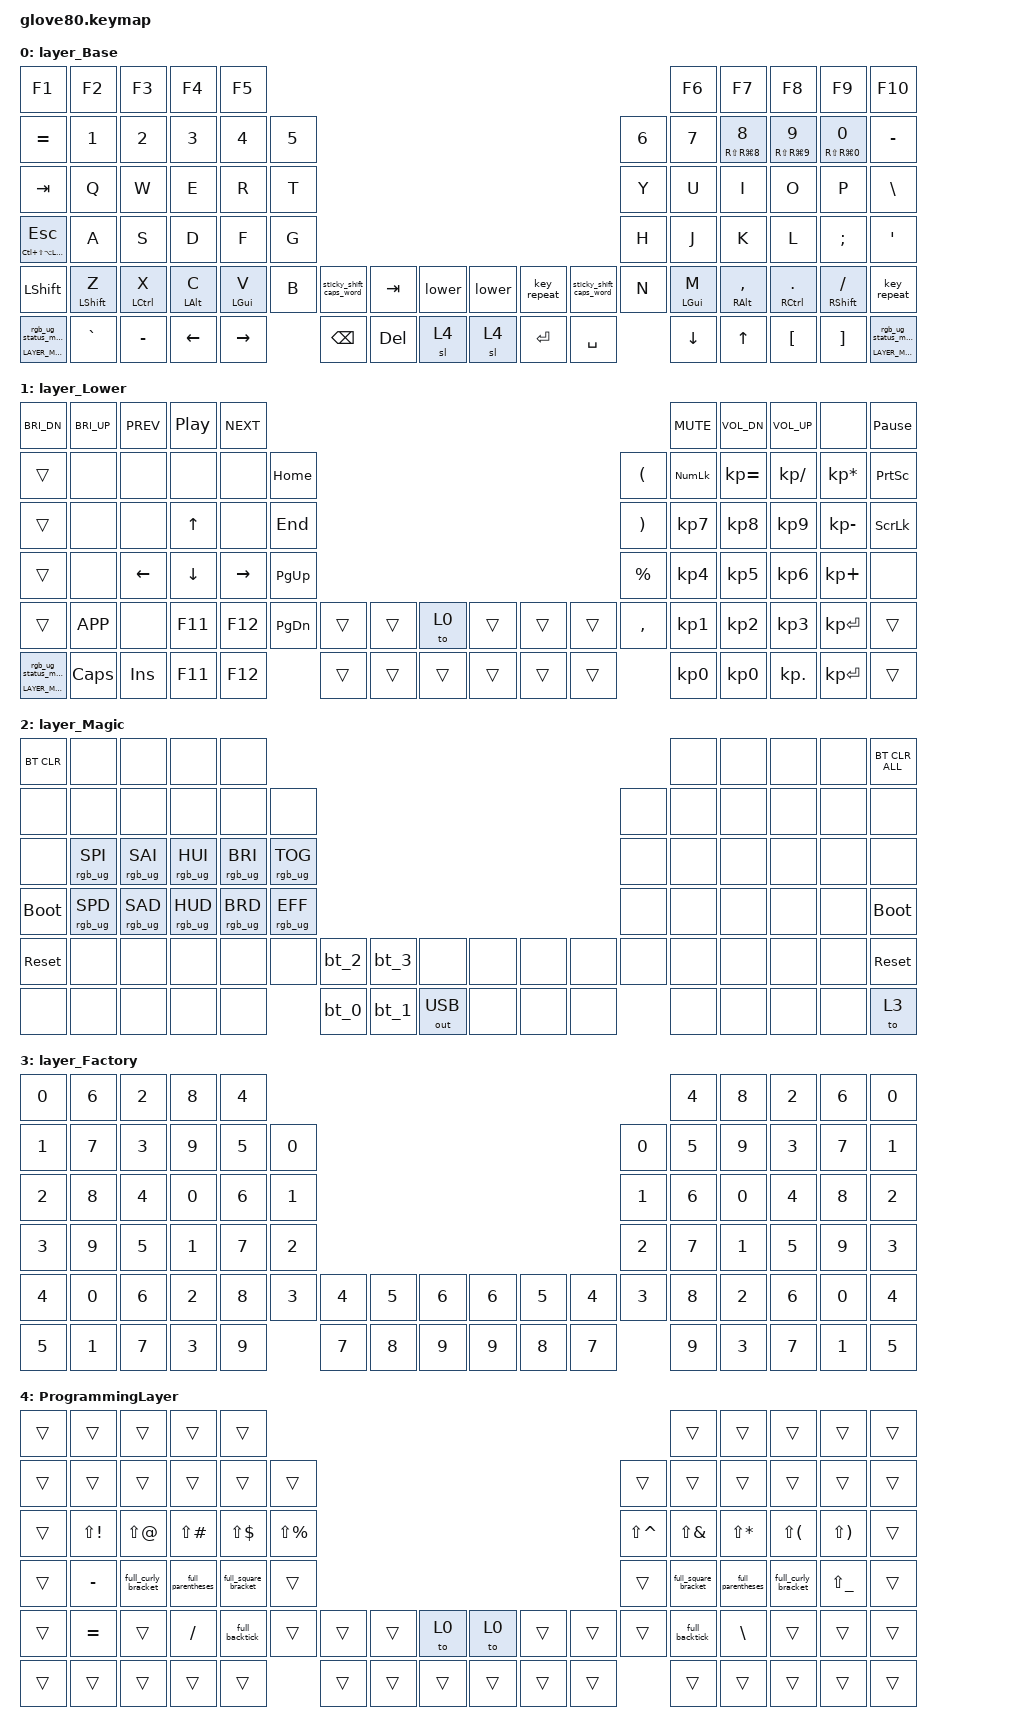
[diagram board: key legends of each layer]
/*
 * Copyright (c) 2020 The ZMK Contributors
 * Copyright (c) 2023 Innaworks Development Limited, trading as MoErgo
 *
 * SPDX-License-Identifier: MIT
 */
/* THIS FILE WAS GENERATED BY GLOVE80 LAYOUT EDITOR
 *
 * This file was generated automatically. You may or may not want to
 * edit it directly.
 */
/* Include all behavior includes needed */

#include <behaviors.dtsi>
#include <dt-bindings/zmk/bt.h>
#include <dt-bindings/zmk/keys.h>
#include <dt-bindings/zmk/outputs.h>
#include <dt-bindings/zmk/rgb.h>

/* On demand includes */
/* Automatically generated layer name #define */

#define LAYER_Base 0
#define LAYER_Lower 1
#define LAYER_Magic 2
#define LAYER_Factory 3

/* To deal with the situation where there is no Lower layer, to keep &lower happy */

#ifndef LAYER_Lower

#define LAYER_Lower 0

#endif

/* Custom Device-tree */

&mt {
    flavor = "balanced";
    tapping-term-ms = <280>;
    quick-tap-ms = <175>;
    require-prior-idle-ms = <150>;
};

&caps_word { continue-list = <UNDERSCORE BACKSPACE DELETE MINUS>; };

/* Glove80 system behavior & macros */

/ {
    behaviors {
        // For the "layer" key, it'd nice to be able to use it as either a shift or a toggle.
        // Configure it as a tap dance, so the first tap (or hold) is a &mo and the second tap is a &to

        lower: lower {
            compatible = "zmk,behavior-tap-dance";
            label = "LAYER_TAP_DANCE";
            #binding-cells = <0>;
            tapping-term-ms = <200>;
            bindings = <&mo LAYER_Lower>, <&to LAYER_Lower>;
        };
    };
};

/ {
    macros {
        rgb_ug_status_macro: rgb_ug_status_macro {
            label = "RGB_UG_STATUS";
            compatible = "zmk,behavior-macro";
            #binding-cells = <0>;
            bindings = <&rgb_ug RGB_STATUS>;
        };
    };
};

/ {
    #ifdef BT_DISC_CMD

    behaviors {
        bt_0: bt_0 {
            compatible = "zmk,behavior-tap-dance";
            label = "BT_0";
            #binding-cells = <0>;
            tapping-term-ms = <200>;
            bindings = <&bt_select_0>, <&bt BT_DISC 0>;
        };

        bt_1: bt_1 {
            compatible = "zmk,behavior-tap-dance";
            label = "BT_1";
            #binding-cells = <0>;
            tapping-term-ms = <200>;
            bindings = <&bt_select_1>, <&bt BT_DISC 1>;
        };

        bt_2: bt_2 {
            compatible = "zmk,behavior-tap-dance";
            label = "BT_2";
            #binding-cells = <0>;
            tapping-term-ms = <200>;
            bindings = <&bt_select_2>, <&bt BT_DISC 2>;
        };

        bt_3: bt_3 {
            compatible = "zmk,behavior-tap-dance";
            label = "BT_3";
            #binding-cells = <0>;
            tapping-term-ms = <200>;
            bindings = <&bt_select_3>, <&bt BT_DISC 3>;
        };
    };

    macros {
        bt_select_0: bt_select_0 {
            label = "BT_SELECT_0";
            compatible = "zmk,behavior-macro";
            #binding-cells = <0>;
            bindings = <&out OUT_BLE &bt BT_SEL 0>;
        };

        bt_select_1: bt_select_1 {
            label = "BT_SELECT_1";
            compatible = "zmk,behavior-macro";
            #binding-cells = <0>;
            bindings = <&out OUT_BLE &bt BT_SEL 1>;
        };

        bt_select_2: bt_select_2 {
            label = "BT_SELECT_2";
            compatible = "zmk,behavior-macro";
            #binding-cells = <0>;
            bindings = <&out OUT_BLE &bt BT_SEL 2>;
        };

        bt_select_3: bt_select_3 {
            label = "BT_SELECT_3";
            compatible = "zmk,behavior-macro";
            #binding-cells = <0>;
            bindings = <&out OUT_BLE &bt BT_SEL 3>;
        };
    };

    #else

    macros {
        bt_0: bt_0 {
            label = "BT_0";
            compatible = "zmk,behavior-macro";
            #binding-cells = <0>;
            bindings = <&out OUT_BLE &bt BT_SEL 0>;
        };

        bt_1: bt_1 {
            label = "BT_1";
            compatible = "zmk,behavior-macro";
            #binding-cells = <0>;
            bindings = <&out OUT_BLE &bt BT_SEL 1>;
        };

        bt_2: bt_2 {
            label = "BT_2";
            compatible = "zmk,behavior-macro";
            #binding-cells = <0>;
            bindings = <&out OUT_BLE &bt BT_SEL 2>;
        };

        bt_3: bt_3 {
            label = "BT_3";
            compatible = "zmk,behavior-macro";
            #binding-cells = <0>;
            bindings = <&out OUT_BLE &bt BT_SEL 3>;
        };
    #endif
    
};

/ { 
    macros {
        full_parentheses: full_parentheses {
             compatible = "zmk,behavior-macro";
             #binding-cells = <0>;
             bindings = <&kp LPAR &kp RPAR &kp LEFT_ARROW>;
             label = "FULL_PARENTHESES";};full_square_bracket: full_square_bracket {
        compatible = "zmk,behavior-macro";
      
         #binding-cells = <0>;
         bindings = <&kp LEFT_BRACKET &kp RIGHT_BRACKET &kp LEFT_ARROW>;
         label = "FULL_SQUARE_BRACKET";};full_curly_bracket: full_curly_bracket {
        compatible = "zmk,behavior-macro";
      
         #binding-cells = <0>;
         bindings = <&kp LEFT_BRACE &kp RIGHT_BRACE &kp LEFT_ARROW>;
         label = "FULL_CURLY_BRACKET";};full_backtick: full_backtick {
        compatible = "zmk,behavior-macro";
      
         #binding-cells = <0>;
         bindings = <&kp GRAVE &kp GRAVE &kp LEFT_ARROW>;
         label = "FULL_BACKTICK";};
        };
  };

/ {
    behaviors {
        magic: magic {
            compatible = "zmk,behavior-hold-tap";
            label = "MAGIC_HOLD_TAP";
            #binding-cells = <2>;
            flavor = "tap-preferred";
            tapping-term-ms = <200>;
            bindings = <&mo>, <&rgb_ug_status_macro>;
        };

        sticky_shift_caps_word: sticky_shift_caps_word {
            compatible = "zmk,behavior-tap-dance";
            label = "STICKY_SHIFT_CAPS_WORD";
            #binding-cells = <0>;
            bindings = <&sk RSHFT>, <&caps_word>;
        };pgdown_layer1: pgdown_layer1 {
      compatible = "zmk,behavior-hold-tap";
    
         label = "PGDOWN_LAYER1";
         bindings = <&to>, <&kp>;
         #binding-cells = <2>;
         tapping-term-ms = <280>;};
    };
};

/* #define for key positions */

#define POS_LH_T1 52
#define POS_LH_T2 53
#define POS_LH_T3 54
#define POS_LH_T4 69
#define POS_LH_T5 70
#define POS_LH_T6 71
#define POS_LH_C1R2 15
#define POS_LH_C1R3 27
#define POS_LH_C1R4 39
#define POS_LH_C1R5 51
#define POS_LH_C2R1 4
#define POS_LH_C2R2 14
#define POS_LH_C2R3 26
#define POS_LH_C2R4 38
#define POS_LH_C2R5 50
#define POS_LH_C2R6 68
#define POS_LH_C3R1 3
#define POS_LH_C3R2 13
#define POS_LH_C3R3 25
#define POS_LH_C3R4 37
#define POS_LH_C3R5 49
#define POS_LH_C3R6 67
#define POS_LH_C4R1 2
#define POS_LH_C4R2 12
#define POS_LH_C4R3 24
#define POS_LH_C4R4 36
#define POS_LH_C4R5 48
#define POS_LH_C4R6 66
#define POS_LH_C5R1 1
#define POS_LH_C5R2 11
#define POS_LH_C5R3 23
#define POS_LH_C5R4 35
#define POS_LH_C5R5 47
#define POS_LH_C5R6 65
#define POS_LH_C6R1 0
#define POS_LH_C6R2 10
#define POS_LH_C6R3 22
#define POS_LH_C6R4 34
#define POS_LH_C6R5 46
#define POS_LH_C6R6 64
#define POS_RH_T1 57
#define POS_RH_T2 56
#define POS_RH_T3 55
#define POS_RH_T4 74
#define POS_RH_T5 73
#define POS_RH_T6 72
#define POS_RH_C1R2 16
#define POS_RH_C1R3 28
#define POS_RH_C1R4 40
#define POS_RH_C1R5 58
#define POS_RH_C2R1 5
#define POS_RH_C2R2 17
#define POS_RH_C2R3 29
#define POS_RH_C2R4 41
#define POS_RH_C2R5 59
#define POS_RH_C2R6 75
#define POS_RH_C3R1 6
#define POS_RH_C3R2 18
#define POS_RH_C3R3 30
#define POS_RH_C3R4 42
#define POS_RH_C3R5 60
#define POS_RH_C3R6 76
#define POS_RH_C4R1 7
#define POS_RH_C4R2 19
#define POS_RH_C4R3 31
#define POS_RH_C4R4 43
#define POS_RH_C4R5 61
#define POS_RH_C4R6 77
#define POS_RH_C5R1 8
#define POS_RH_C5R2 20
#define POS_RH_C5R3 32
#define POS_RH_C5R4 44
#define POS_RH_C5R5 62
#define POS_RH_C5R6 78
#define POS_RH_C6R1 9
#define POS_RH_C6R2 21
#define POS_RH_C6R3 33
#define POS_RH_C6R4 45
#define POS_RH_C6R5 63
#define POS_RH_C6R6 79

/* Custom Defined Behaviors */

/ {
};

/* Automatically generated macro definitions */

/ {
    macros {
    };
};

/* Automatically generated behavior definitions */

/ {
    behaviors {
    };
};

/* Automatically generated combos definitions */
/* Automatically generated keymap */

/ {
    keymap {
        compatible = "zmk,keymap";

        layer_Base {
            bindings = <
&kp F1                    &kp F2       &kp F3       &kp F4          &kp F5                                                                                                              &kp F6          &kp F7             &kp F8             &kp F9             &kp F10
&kp EQUAL                 &kp N1       &kp N2       &kp N3          &kp N4      &kp N5                                                                                          &kp N6  &kp N7          &mt RS(RG(N8)) N8  &mt RS(RG(N9)) N9  &mt RS(RG(N0)) N0  &kp MINUS
&kp TAB                   &kp Q        &kp W        &kp E           &kp R       &kp T                                                                                           &kp Y   &kp U           &kp I              &kp O              &kp P              &kp BSLH
&mt LC(LS(LA(LGUI))) ESC  &kp A        &kp S        &kp D           &kp F       &kp G                                                                                           &kp H   &kp J           &kp K              &kp L              &kp SEMI           &kp SQT
&kp LEFT_SHIFT            &mt LSHFT Z  &mt LCTRL X  &mt LALT C      &mt LGUI V  &kp B   &sticky_shift_caps_word  &kp TAB  &lower  &lower  &key_repeat  &sticky_shift_caps_word  &kp N   &mt LEFT_GUI M  &mt RALT COMMA     &mt RCTRL DOT      &mt RSHFT FSLH     &key_repeat
&magic LAYER_Magic 0      &kp GRAVE    &kp MINUS    &kp LEFT_ARROW  &kp RIGHT           &kp BSPC                 &kp DEL  &sl 4   &sl 4   &kp RET      &kp SPACE                        &kp DOWN_ARROW  &kp UP_ARROW       &kp LEFT_BRACKET   &kp RIGHT_BRACKET  &magic LAYER_Magic 0
>;
        };

        layer_Lower {
            bindings = <
&kp C_BRI_DN          &kp C_BRI_UP  &kp C_PREV      &kp C_PP        &kp C_NEXT                                                                                         &kp C_MUTE  &kp C_VOL_DN  &kp C_VOL_UP  &none            &kp PAUSE_BREAK
&trans                &none         &none           &none           &none            &kp HOME                                                   &kp LEFT_PARENTHESIS   &kp KP_NUM  &kp KP_EQUAL  &kp KP_SLASH  &kp KP_MULTIPLY  &kp PRINTSCREEN
&trans                &none         &none           &kp UP_ARROW    &none            &kp END                                                    &kp RIGHT_PARENTHESIS  &kp KP_N7   &kp KP_N8     &kp KP_N9     &kp KP_MINUS     &kp SCROLLLOCK
&trans                &none         &kp LEFT_ARROW  &kp DOWN_ARROW  &kp RIGHT_ARROW  &kp PG_UP                                                  &kp PERCENT            &kp KP_N4   &kp KP_N5     &kp KP_N6     &kp KP_PLUS      &none
&trans                &kp K_APP     &none           &kp F11         &kp F12          &kp PG_DN  &trans  &trans  &to 0   &trans  &trans  &trans  &kp COMMA              &kp KP_N1   &kp KP_N2     &kp KP_N3     &kp KP_ENTER     &trans
&magic LAYER_Magic 0  &kp CAPS      &kp INS         &kp F11         &kp F12                     &trans  &trans  &trans  &trans  &trans  &trans                         &kp KP_N0   &kp KP_N0     &kp KP_DOT    &kp KP_ENTER     &trans
>;
        };

        layer_Magic {
            bindings = <
&bt BT_CLR   &none            &none            &none            &none                                                                                     &none  &none  &none  &none  &bt BT_CLR_ALL
&none        &none            &none            &none            &none            &none                                                             &none  &none  &none  &none  &none  &none
&none        &rgb_ug RGB_SPI  &rgb_ug RGB_SAI  &rgb_ug RGB_HUI  &rgb_ug RGB_BRI  &rgb_ug RGB_TOG                                                   &none  &none  &none  &none  &none  &none
&bootloader  &rgb_ug RGB_SPD  &rgb_ug RGB_SAD  &rgb_ug RGB_HUD  &rgb_ug RGB_BRD  &rgb_ug RGB_EFF                                                   &none  &none  &none  &none  &none  &bootloader
&sys_reset   &none            &none            &none            &none            &none            &bt_2  &bt_3  &none         &none  &none  &none  &none  &none  &none  &none  &none  &sys_reset
&none        &none            &none            &none            &none                             &bt_0  &bt_1  &out OUT_USB  &none  &none  &none         &none  &none  &none  &none  &to 3
>;
        };

        layer_Factory {
            bindings = <
&kp NUMBER_0  &kp NUMBER_6  &kp NUMBER_2  &kp NUMBER_8  &kp NUMBER_4                                                                                                                  &kp NUMBER_4  &kp NUMBER_8  &kp NUMBER_2  &kp NUMBER_6  &kp NUMBER_0
&kp NUMBER_1  &kp NUMBER_7  &kp NUMBER_3  &kp NUMBER_9  &kp NUMBER_5  &kp NUMBER_0                                                                                      &kp NUMBER_0  &kp NUMBER_5  &kp NUMBER_9  &kp NUMBER_3  &kp NUMBER_7  &kp NUMBER_1
&kp NUMBER_2  &kp NUMBER_8  &kp NUMBER_4  &kp NUMBER_0  &kp NUMBER_6  &kp NUMBER_1                                                                                      &kp NUMBER_1  &kp NUMBER_6  &kp NUMBER_0  &kp NUMBER_4  &kp NUMBER_8  &kp NUMBER_2
&kp NUMBER_3  &kp NUMBER_9  &kp NUMBER_5  &kp NUMBER_1  &kp NUMBER_7  &kp NUMBER_2                                                                                      &kp NUMBER_2  &kp NUMBER_7  &kp NUMBER_1  &kp NUMBER_5  &kp NUMBER_9  &kp NUMBER_3
&kp NUMBER_4  &kp NUMBER_0  &kp NUMBER_6  &kp NUMBER_2  &kp NUMBER_8  &kp NUMBER_3  &kp NUMBER_4  &kp NUMBER_5  &kp NUMBER_6  &kp NUMBER_6  &kp NUMBER_5  &kp NUMBER_4  &kp NUMBER_3  &kp NUMBER_8  &kp NUMBER_2  &kp NUMBER_6  &kp NUMBER_0  &kp NUMBER_4
&kp NUMBER_5  &kp NUMBER_1  &kp NUMBER_7  &kp NUMBER_3  &kp NUMBER_9                &kp NUMBER_7  &kp NUMBER_8  &kp NUMBER_9  &kp NUMBER_9  &kp NUMBER_8  &kp NUMBER_7                &kp NUMBER_9  &kp NUMBER_3  &kp NUMBER_7  &kp NUMBER_1  &kp NUMBER_5
>;
        };ProgrammingLayer {
         bindings = <
&trans  &trans        &trans               &trans             &trans                                                                                              &trans                &trans             &trans               &trans         &trans
&trans  &trans        &trans               &trans             &trans                &trans                                                         &trans         &trans                &trans             &trans               &trans         &trans
&trans  &kp LS(EXCL)  &kp LS(AT)           &kp LS(POUND)      &kp LS(DLLR)          &kp LS(PRCNT)                                                  &kp LS(CARET)  &kp LS(AMPS)          &kp LS(STAR)       &kp LS(LPAR)         &kp LS(RPAR)   &trans
&trans  &kp MINUS     &full_curly_bracket  &full_parentheses  &full_square_bracket  &trans                                                         &trans         &full_square_bracket  &full_parentheses  &full_curly_bracket  &kp LS(UNDER)  &trans
&trans  &kp EQUAL     &trans               &kp FSLH           &full_backtick        &trans         &trans  &trans  &to 0   &to 0   &trans  &trans  &trans         &full_backtick        &kp BSLH           &trans               &trans         &trans
&trans  &trans        &trans               &trans             &trans                               &trans  &trans  &trans  &trans  &trans  &trans                 &trans                &trans             &trans               &trans         &trans
>;};
    };
};
